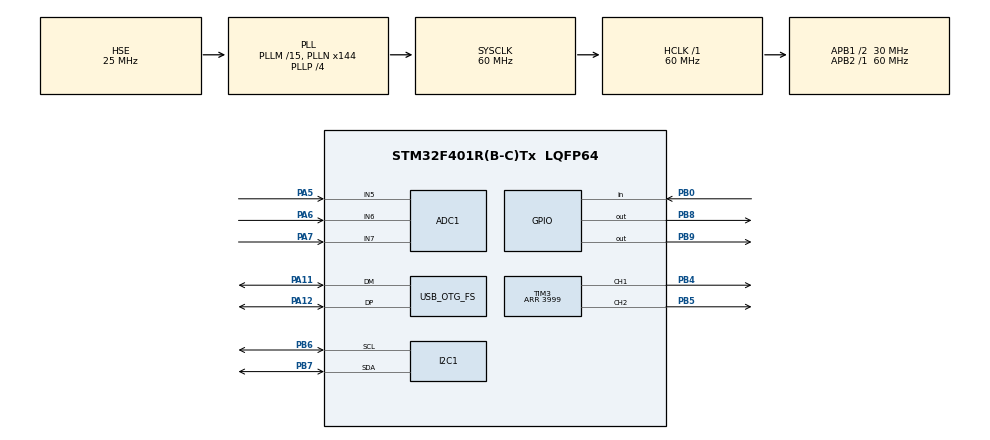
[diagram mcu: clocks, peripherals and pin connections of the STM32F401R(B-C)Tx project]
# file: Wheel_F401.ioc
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ADC1.Channel-0\#ChannelRegularConversion=ADC_CHANNEL_5
ADC1.Channel-1\#ChannelRegularConversion=ADC_CHANNEL_6
ADC1.Channel-2\#ChannelRegularConversion=ADC_CHANNEL_7
ADC1.DMAContinuousRequests=DISABLE
ADC1.NbrOfConversion=3
ADC1.NbrOfConversionFlag=1
ADC1.Rank-0\#ChannelRegularConversion=1
ADC1.Rank-1\#ChannelRegularConversion=2
ADC1.Rank-2\#ChannelRegularConversion=3
ADC1.SamplingTime-0\#ChannelRegularConversion=ADC_SAMPLETIME_56CYCLES
ADC1.SamplingTime-1\#ChannelRegularConversion=ADC_SAMPLETIME_56CYCLES
ADC1.SamplingTime-2\#ChannelRegularConversion=ADC_SAMPLETIME_56CYCLES
ADC1.ScanConvMode=ENABLE
ADC1.master=1
Dma.ADC1.0.Direction=DMA_PERIPH_TO_MEMORY
Dma.ADC1.0.FIFOMode=DMA_FIFOMODE_DISABLE
Dma.ADC1.0.Instance=DMA2_Stream0
Dma.ADC1.0.MemDataAlignment=DMA_MDATAALIGN_HALFWORD
Dma.ADC1.0.MemInc=DMA_MINC_ENABLE
Dma.ADC1.0.Mode=DMA_NORMAL
Dma.ADC1.0.PeriphDataAlignment=DMA_PDATAALIGN_HALFWORD
Dma.ADC1.0.PeriphInc=DMA_PINC_DISABLE
Dma.ADC1.0.Priority=DMA_PRIORITY_LOW
Dma.Request0=ADC1
FREERTOS.Tasks01=mainTask,24,128,StartDefaultTask,Default,NULL,Dynamic,NULL,NULL;task02,24,128,StartTask02,Default,NULL,Dynamic,NULL,NULL;task03,24,128,StartTask03,Default,NULL,Dynamic,NULL,NULL;task04,24,128,StartTask04,Default,NULL,Dynamic,NULL,NULL;task05,24,128,StartTask05,Default,NULL,Dynamic,NULL,NULL
Mcu.Family=STM32F4
Mcu.Name=STM32F401R(B-C)Tx
Mcu.Package=LQFP64
NVIC.DMA2_Stream0_IRQn=true\:5\:0\:false\:false\:true\:true\:false\:true\:true
NVIC.OTG_FS_IRQn=true\:5\:0\:false\:false\:true\:true\:false\:true\:true
NVIC.PriorityGroup=NVIC_PRIORITYGROUP_4
PA11.Mode=Device_Only
PA11.Signal=USB_OTG_FS_DM
PA12.Mode=Device_Only
PA12.Signal=USB_OTG_FS_DP
PA13.Mode=Trace_Asynchronous_SW
PA13.Signal=SYS_JTMS-SWDIO
PA14.Mode=Trace_Asynchronous_SW
PA14.Signal=SYS_JTCK-SWCLK
PA5.Signal=ADCx_IN5
PA6.Signal=ADCx_IN6
PA7.Signal=ADCx_IN7
PB0.GPIO_PuPd=GPIO_PULLDOWN
PB0.Signal=GPIO_Input
PB3.Mode=Trace_Asynchronous_SW
PB3.Signal=SYS_JTDO-SWO
PB4.GPIO_Speed=GPIO_SPEED_FREQ_VERY_HIGH
PB4.Signal=S_TIM3_CH1
PB5.Signal=S_TIM3_CH2
PB6.GPIO_Pu=GPIO_PULLUP
PB6.Mode=I2C
PB6.Signal=I2C1_SCL
PB7.GPIO_Pu=GPIO_PULLUP
PB7.Mode=I2C
PB7.Signal=I2C1_SDA
PB8.Signal=GPIO_Output
PB9.Signal=GPIO_Output
PH0\ -\ OSC_IN.Mode=HSE-External-Oscillator
PH0\ -\ OSC_IN.Signal=RCC_OSC_IN
PH1\ -\ OSC_OUT.Mode=HSE-External-Oscillator
PH1\ -\ OSC_OUT.Signal=RCC_OSC_OUT
ProjectManager.HeapSize=0x200
ProjectManager.StackSize=0x400
ProjectManager.TargetToolchain=STM32CubeIDE
RCC.48MHZClocksFreq_Value=48000000
RCC.AHBFreq_Value=60000000
RCC.APB1CLKDivider=RCC_HCLK_DIV2
RCC.APB1Freq_Value=30000000
RCC.APB1TimCLKDivider=2
RCC.APB1TimFreq_Value=60000000
RCC.APB2Freq_Value=60000000
RCC.APB2TimFreq_Value=60000000
RCC.CortexFreq_Value=60000000
RCC.HCLKFreq_Value=60000000
RCC.HSE_VALUE=25000000
RCC.HSI_VALUE=16000000
RCC.LSE_VALUE=32768
RCC.PLLM=15
RCC.PLLN=144
RCC.PLLP=RCC_PLLP_DIV4
RCC.PLLQ=5
RCC.SYSCLKFreq_VALUE=60000000
RCC.SYSCLKSource=RCC_SYSCLKSOURCE_PLLCLK
RCC.VCOOutputFreq_Value=240000000
SH.ADCx_IN5.0=ADC1_IN5,IN5
SH.ADCx_IN6.0=ADC1_IN6,IN6
SH.ADCx_IN7.0=ADC1_IN7,IN7
SH.S_TIM3_CH1.0=TIM3_CH1,PWM Generation1 CH1
SH.S_TIM3_CH2.0=TIM3_CH2,PWM Generation2 CH2
TIM3.Channel-PWM\ Generation1\ CH1=TIM_CHANNEL_1
TIM3.Channel-PWM\ Generation2\ CH2=TIM_CHANNEL_2
TIM3.CounterMode=TIM_COUNTERMODE_UP
TIM3.Period=3999
USB_DEVICE.CLASS_NAME_FS=CUSTOM_HID
USB_DEVICE.CUSTOM_HID_FS_BINTERVAL=0x1
USB_DEVICE.PRODUCT_STRING_CUSTOMHID_FS=FFB Steering Wheel
USB_DEVICE.USBD_CUSTOMHID_OUTREPORT_BUF_SIZE=64
USB_DEVICE.USBD_CUSTOM_HID_REPORT_DESC_SIZE=255
USB_DEVICE.VirtualMode=CustomHid
USB_DEVICE.VirtualModeFS=Custom_Hid_FS
USB_OTG_FS.VirtualMode=Device_Only
VP_FREERTOS_VS_CMSIS_V2.Mode=CMSIS_V2
VP_TIM3_VS_ClockSourceINT.Mode=Internal
VP_USB_DEVICE_VS_USB_DEVICE_CUSTOM_HID_FS.Mode=CUSTOM_HID_FS
board=custom

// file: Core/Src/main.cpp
/* USER CODE BEGIN Header */
/**
 ******************************************************************************
 * @file           : main.c
 * @brief          : Main program body
 ******************************************************************************
 * @attention
 *
 * Copyright (c) 2024 STMicroelectronics.
 * All rights reserved.
 *
 * This software is licensed under terms that can be found in the LICENSE file
 * in the root directory of this software component.
 * If no LICENSE file comes with this software, it is provided AS-IS.
 *
 ******************************************************************************
 */
/* USER CODE END Header */
#include "main.h"
#include "cmsis_os.h"
#include "usb_device.h"

/* USER CODE BEGIN Includes */
#include "FfbReportHandler.h"
#include "FfbWheel.h"
#include "HIDReportType.h"
#include <chrono>
#include "usbd_customhid.h"
#include "helpers.h"
#include "globals.h"
/* USER CODE END Includes */

ADC_HandleTypeDef hadc1;
DMA_HandleTypeDef hdma_adc1;

I2C_HandleTypeDef hi2c1;

TIM_HandleTypeDef htim3;

/* Definitions for mainTask */
osThreadId_t mainTaskHandle;
const osThreadAttr_t mainTask_attributes = {
  .name = "mainTask",
  .stack_size = 128 * 4,
  .priority = (osPriority_t) osPriorityNormal,
};
/* Definitions for task02 */
osThreadId_t task02Handle;
const osThreadAttr_t task02_attributes = {
  .name = "task02",
  .stack_size = 128 * 4,
  .priority = (osPriority_t) osPriorityNormal,
};
/* Definitions for task03 */
osThreadId_t task03Handle;
const osThreadAttr_t task03_attributes = {
  .name = "task03",
  .stack_size = 128 * 4,
  .priority = (osPriority_t) osPriorityNormal,
};
/* Definitions for task04 */
osThreadId_t task04Handle;
const osThreadAttr_t task04_attributes = {
  .name = "task04",
  .stack_size = 128 * 4,
  .priority = (osPriority_t) osPriorityNormal,
};
/* Definitions for task05 */
osThreadId_t task05Handle;
const osThreadAttr_t task05_attributes = {
  .name = "task05",
  .stack_size = 128 * 4,
  .priority = (osPriority_t) osPriorityNormal,
};
/* USER CODE BEGIN PV */

reportHID_t reportHID = { 1, 0, 0, 0, 0, 0, 0, 0};

volatile uint16_t adcResultsDMA[3];
const int adcChannelCount = sizeof(adcResultsDMA) / sizeof(adcResultsDMA[0]);
volatile int adcConversionComplete = 0; // set by callback

uint8_t fx_ratio_i = 30; // Reduce effects to a certain ratio of the total power to have a margin for the endstop
int32_t torque = 0; // last torque
int32_t effectTorque = 0; // last torque
int32_t lastEnc = 0;
uint8_t endstop_gain_i = 4; // Sets how much extra torque per count above endstop is added. High = stiff endstop. Low = softer

void *handler;

int16_t debug;
int32_t torqueTest;
int32_t addtorqueTest;
int32_t endstopTorqueTest;

int32_t adc[3];
int16_t offset = 0;
/* USER CODE END PV */

void SystemClock_Config(void);
static void MX_GPIO_Init(void);
static void MX_DMA_Init(void);
static void MX_ADC1_Init(void);
static void MX_TIM3_Init(void);
static void MX_I2C1_Init(void);
void StartDefaultTask(void *argument);
void StartTask02(void *argument);
void StartTask03(void *argument);
void StartTask04(void *argument);
void StartTask05(void *argument);

/* USER CODE BEGIN 0 */
int16_t updateEndstop() {
	int8_t clipdir = cliptest<int32_t, int32_t>(lastEnc, -6144, 6144);
	if (clipdir == 0) {
		return 0;
	}
	int32_t addtorque = 0;

	addtorque += clip<int32_t, int32_t>(abs(lastEnc) - 6144, -6144, 6144);
	addtorque *= (float) endstop_gain_i; // Apply endstop gain for stiffness
	addtorque *= -clipdir;
	addtorqueTest = addtorque;

	return clip<int32_t, int32_t>(addtorque, -MAX_TORQUE*1, MAX_TORQUE*1);
}

void printEffectState(TEffectState *state) {
	printf("state: %u\n", state->state);
	printf("effectType: %u\n", state->effectType);
	printf("offset: %d\n", state->offset);
	printf("gain: %u\n", state->gain);
	printf("attackLevel: %d, fadeLevel: %d\n", state->attackLevel, state->fadeLevel);
	printf("magnitude: %d\n", state->magnitude);
	printf("enableAxis: %#x\n", state->enableAxis);
	printf("directionX: %u, directionY: %u\n", state->directionX, state->directionY);
	printf("cpOffset: %d\n", state->cpOffset);
	printf("positiveCoefficient: %d\n", state->positiveCoefficient);
	printf("negativeCoefficient: %d\n", state->negativeCoefficient);
	printf("positiveSaturation: %u, negativeSaturation: %u\n", state->positiveSaturation, state->negativeSaturation);
	printf("deadBand: %u\n", state->deadBand);
	printf("last_value: %ld\n", state->last_value);
	printf("phase: %u\n", state->phase);
	printf("startMagnitude: %d, endMagnitude: %d\n", state->startMagnitude, state->endMagnitude);
	printf("axis: %u\n", state->axis);
	printf("period: %u\n", state->period);
	printf("duration: %u, fadeTime: %u, attackTime: %u, counter: %u\n", state->duration, state->fadeTime, state->attackTime, state->counter);
	printf("startTime: %llu\n", state->startTime);
	printf("--------------------------------\n");
}

/* USER CODE END 0 */

int main(void)
{

  /* MCU Configuration--------------------------------------------------------*/

  /* Reset of all peripherals, Initializes the Flash interface and the Systick. */
  HAL_Init();

  /* Configure the system clock */
  SystemClock_Config();

  /* Initialize all configured peripherals */
  MX_GPIO_Init();
  MX_DMA_Init();
  MX_ADC1_Init();
  MX_TIM3_Init();
  MX_I2C1_Init();
  /* USER CODE BEGIN 2 */
	handler = createFfbReportHandler();
	HAL_TIM_PWM_Start(&htim3, L_PWM_CH);
	__HAL_TIM_SET_COMPARE(&htim3, L_PWM_CH, 0);
	HAL_TIM_PWM_Start(&htim3, R_PWM_CH);
	__HAL_TIM_SET_COMPARE(&htim3, R_PWM_CH, 0);
	printf("SWO conversation started!\n");

	HAL_GPIO_WritePin(R_EN_GPIO_Port, R_EN_Pin, GPIO_PIN_RESET); // Установка R_EN на низкий уровень
	HAL_GPIO_WritePin(L_EN_GPIO_Port, L_EN_Pin, GPIO_PIN_RESET); // Установка L_EN на высокий уровень
  /* USER CODE END 2 */

  /* Init scheduler */
  osKernelInitialize();

  /* Create the thread(s) */
  /* creation of mainTask */
  mainTaskHandle = osThreadNew(StartDefaultTask, NULL, &mainTask_attributes);

  /* creation of task02 */
  task02Handle = osThreadNew(StartTask02, NULL, &task02_attributes);

  /* creation of task03 */
  task03Handle = osThreadNew(StartTask03, NULL, &task03_attributes);

  /* creation of task04 */
  task04Handle = osThreadNew(StartTask04, NULL, &task04_attributes);

  /* creation of task05 */
  task05Handle = osThreadNew(StartTask05, NULL, &task05_attributes);

  /* Start scheduler */
  osKernelStart();

  /* We should never get here as control is now taken by the scheduler */

  /* Infinite loop */
	while (1) {

	}
}

void SystemClock_Config(void)
{
  RCC_OscInitTypeDef RCC_OscInitStruct = {0};
  RCC_ClkInitTypeDef RCC_ClkInitStruct = {0};

  /** Configure the main internal regulator output voltage
  */
  __HAL_RCC_PWR_CLK_ENABLE();
  __HAL_PWR_VOLTAGESCALING_CONFIG(PWR_REGULATOR_VOLTAGE_SCALE2);

  /** Initializes the RCC Oscillators according to the specified parameters
  * in the RCC_OscInitTypeDef structure.
  */
  RCC_OscInitStruct.OscillatorType = RCC_OSCILLATORTYPE_HSE;
  RCC_OscInitStruct.HSEState = RCC_HSE_ON;
  RCC_OscInitStruct.PLL.PLLState = RCC_PLL_ON;
  RCC_OscInitStruct.PLL.PLLSource = RCC_PLLSOURCE_HSE;
  RCC_OscInitStruct.PLL.PLLM = 15;
  RCC_OscInitStruct.PLL.PLLN = 144;
  RCC_OscInitStruct.PLL.PLLP = RCC_PLLP_DIV4;
  RCC_OscInitStruct.PLL.PLLQ = 5;
  if (HAL_RCC_OscConfig(&RCC_OscInitStruct) != HAL_OK)
  {
    Error_Handler();
  }

  /** Initializes the CPU, AHB and APB buses clocks
  */
  RCC_ClkInitStruct.ClockType = RCC_CLOCKTYPE_HCLK|RCC_CLOCKTYPE_SYSCLK
                              |RCC_CLOCKTYPE_PCLK1|RCC_CLOCKTYPE_PCLK2;
  RCC_ClkInitStruct.SYSCLKSource = RCC_SYSCLKSOURCE_PLLCLK;
  RCC_ClkInitStruct.AHBCLKDivider = RCC_SYSCLK_DIV1;
  RCC_ClkInitStruct.APB1CLKDivider = RCC_HCLK_DIV2;
  RCC_ClkInitStruct.APB2CLKDivider = RCC_HCLK_DIV1;

  if (HAL_RCC_ClockConfig(&RCC_ClkInitStruct, FLASH_LATENCY_1) != HAL_OK)
  {
    Error_Handler();
  }
}

static void MX_ADC1_Init(void)
{

  ADC_ChannelConfTypeDef sConfig = {0};

  /** Configure the global features of the ADC (Clock, Resolution, Data Alignment and number of conversion)
  */
  hadc1.Instance = ADC1;
  hadc1.Init.ClockPrescaler = ADC_CLOCK_SYNC_PCLK_DIV2;
  hadc1.Init.Resolution = ADC_RESOLUTION_12B;
  hadc1.Init.ScanConvMode = ENABLE;
  hadc1.Init.ContinuousConvMode = DISABLE;
  hadc1.Init.DiscontinuousConvMode = DISABLE;
  hadc1.Init.ExternalTrigConvEdge = ADC_EXTERNALTRIGCONVEDGE_NONE;
  hadc1.Init.ExternalTrigConv = ADC_SOFTWARE_START;
  hadc1.Init.DataAlign = ADC_DATAALIGN_RIGHT;
  hadc1.Init.NbrOfConversion = 3;
  hadc1.Init.DMAContinuousRequests = DISABLE;
  hadc1.Init.EOCSelection = ADC_EOC_SINGLE_CONV;
  if (HAL_ADC_Init(&hadc1) != HAL_OK)
  {
    Error_Handler();
  }

  /** Configure for the selected ADC regular channel its corresponding rank in the sequencer and its sample time.
  */
  sConfig.Channel = ADC_CHANNEL_5;
  sConfig.Rank = 1;
  sConfig.SamplingTime = ADC_SAMPLETIME_56CYCLES;
  if (HAL_ADC_ConfigChannel(&hadc1, &sConfig) != HAL_OK)
  {
    Error_Handler();
  }

  /** Configure for the selected ADC regular channel its corresponding rank in the sequencer and its sample time.
  */
  sConfig.Channel = ADC_CHANNEL_6;
  sConfig.Rank = 2;
  if (HAL_ADC_ConfigChannel(&hadc1, &sConfig) != HAL_OK)
  {
    Error_Handler();
  }

  /** Configure for the selected ADC regular channel its corresponding rank in the sequencer and its sample time.
  */
  sConfig.Channel = ADC_CHANNEL_7;
  sConfig.Rank = 3;
  if (HAL_ADC_ConfigChannel(&hadc1, &sConfig) != HAL_OK)
  {
    Error_Handler();
  }

}

static void MX_I2C1_Init(void)
{

  hi2c1.Instance = I2C1;
  hi2c1.Init.ClockSpeed = 100000;
  hi2c1.Init.DutyCycle = I2C_DUTYCYCLE_2;
  hi2c1.Init.OwnAddress1 = 0;
  hi2c1.Init.AddressingMode = I2C_ADDRESSINGMODE_7BIT;
  hi2c1.Init.DualAddressMode = I2C_DUALADDRESS_DISABLE;
  hi2c1.Init.OwnAddress2 = 0;
  hi2c1.Init.GeneralCallMode = I2C_GENERALCALL_DISABLE;
  hi2c1.Init.NoStretchMode = I2C_NOSTRETCH_DISABLE;
  if (HAL_I2C_Init(&hi2c1) != HAL_OK)
  {
    Error_Handler();
  }

}

static void MX_TIM3_Init(void)
{

  TIM_ClockConfigTypeDef sClockSourceConfig = {0};
  TIM_MasterConfigTypeDef sMasterConfig = {0};
  TIM_OC_InitTypeDef sConfigOC = {0};

  htim3.Instance = TIM3;
  htim3.Init.Prescaler = 0;
  htim3.Init.CounterMode = TIM_COUNTERMODE_UP;
  htim3.Init.Period = 8570;
  htim3.Init.ClockDivision = TIM_CLOCKDIVISION_DIV1;
  htim3.Init.AutoReloadPreload = TIM_AUTORELOAD_PRELOAD_DISABLE;
  if (HAL_TIM_Base_Init(&htim3) != HAL_OK)
  {
    Error_Handler();
  }
  sClockSourceConfig.ClockSource = TIM_CLOCKSOURCE_INTERNAL;
  if (HAL_TIM_ConfigClockSource(&htim3, &sClockSourceConfig) != HAL_OK)
  {
    Error_Handler();
  }
  if (HAL_TIM_PWM_Init(&htim3) != HAL_OK)
  {
    Error_Handler();
  }
  sMasterConfig.MasterOutputTrigger = TIM_TRGO_RESET;
  sMasterConfig.MasterSlaveMode = TIM_MASTERSLAVEMODE_DISABLE;
  if (HAL_TIMEx_MasterConfigSynchronization(&htim3, &sMasterConfig) != HAL_OK)
  {
    Error_Handler();
  }
  sConfigOC.OCMode = TIM_OCMODE_PWM1;
  sConfigOC.Pulse = 0;
  sConfigOC.OCPolarity = TIM_OCPOLARITY_HIGH;
  sConfigOC.OCFastMode = TIM_OCFAST_DISABLE;
  if (HAL_TIM_PWM_ConfigChannel(&htim3, &sConfigOC, TIM_CHANNEL_1) != HAL_OK)
  {
    Error_Handler();
  }
  if (HAL_TIM_PWM_ConfigChannel(&htim3, &sConfigOC, TIM_CHANNEL_2) != HAL_OK)
  {
    Error_Handler();
  }
  HAL_TIM_MspPostInit(&htim3);

}

static void MX_DMA_Init(void)
{

  /* DMA controller clock enable */
  __HAL_RCC_DMA2_CLK_ENABLE();

  /* DMA interrupt init */
  /* DMA2_Stream0_IRQn interrupt configuration */
  HAL_NVIC_SetPriority(DMA2_Stream0_IRQn, 5, 0);
  HAL_NVIC_EnableIRQ(DMA2_Stream0_IRQn);

}

static void MX_GPIO_Init(void)
{
  GPIO_InitTypeDef GPIO_InitStruct = {0};

  /* GPIO Ports Clock Enable */
  __HAL_RCC_GPIOH_CLK_ENABLE();
  __HAL_RCC_GPIOA_CLK_ENABLE();
  __HAL_RCC_GPIOB_CLK_ENABLE();

  /*Configure GPIO pin Output Level */
  HAL_GPIO_WritePin(GPIOB, GPIO_PIN_8|GPIO_PIN_9, GPIO_PIN_RESET);

  /*Configure GPIO pin : PB0 */
  GPIO_InitStruct.Pin = GPIO_PIN_0;
  GPIO_InitStruct.Mode = GPIO_MODE_INPUT;
  GPIO_InitStruct.Pull = GPIO_PULLDOWN;
  HAL_GPIO_Init(GPIOB, &GPIO_InitStruct);

  /*Configure GPIO pins : PB8 PB9 */
  GPIO_InitStruct.Pin = GPIO_PIN_8|GPIO_PIN_9;
  GPIO_InitStruct.Mode = GPIO_MODE_OUTPUT_PP;
  GPIO_InitStruct.Pull = GPIO_NOPULL;
  GPIO_InitStruct.Speed = GPIO_SPEED_FREQ_LOW;
  HAL_GPIO_Init(GPIOB, &GPIO_InitStruct);

}

/* USER CODE BEGIN 4 */
void HAL_ADC_ConvCpltCallback(ADC_HandleTypeDef *hadc) {
	adcConversionComplete = 1;
}
/* USER CODE END 4 */

void StartDefaultTask(void *argument)
{
  /* init code for USB_DEVICE */
  MX_USB_DEVICE_Init();
  /* USER CODE BEGIN 5 */
	int32_t lastTorque;

	/* Infinite loop */
	for (;;) {
		lastTorque = torque;
		torque = 0;
		lastEnc = reportHID.X;

		effectTorque = callCalculateEffects(handler, reportHID.X, 1);

		if (abs(effectTorque) >= MAX_TORQUE) {
			//clipped
		}
		// Scale for power and endstop margin
		float effect_margin_scaler = ((float) fx_ratio_i / 255.0);
		effectTorque *= effect_margin_scaler;

		// Always check if endstop reached
		int32_t endstopTorque = updateEndstop();
		endstopTorqueTest = endstopTorque;

		// Calculate total torque
		torque += effectTorque;
		torque += endstopTorque;
		torqueTest = torque;

		// Torque changed
		if (torque != lastTorque) {
			// Update torque and clip
			torque = clip<int32_t, int32_t>(torque, -MAX_TORQUE, MAX_TORQUE);
			if (abs(torque) == MAX_TORQUE) {
				//clipped
			}
			// Send to motor driver
			int32_t val = (uint32_t) abs(torque);
			if (torque < 0) {
				HAL_GPIO_WritePin(R_EN_GPIO_Port, R_EN_Pin, GPIO_PIN_SET);
				HAL_GPIO_WritePin(L_EN_GPIO_Port, L_EN_Pin, GPIO_PIN_SET);
				__HAL_TIM_SET_COMPARE(&htim3, L_PWM_CH, MAX_TORQUE - val);
				__HAL_TIM_SET_COMPARE(&htim3, R_PWM_CH, MAX_TORQUE);
			}
			else if (torque > 0) {
				HAL_GPIO_WritePin(R_EN_GPIO_Port, R_EN_Pin, GPIO_PIN_SET);
				HAL_GPIO_WritePin(L_EN_GPIO_Port, L_EN_Pin, GPIO_PIN_SET);
				__HAL_TIM_SET_COMPARE(&htim3, L_PWM_CH, MAX_TORQUE);
				__HAL_TIM_SET_COMPARE(&htim3, R_PWM_CH, MAX_TORQUE - val);
			}
			else {
				HAL_GPIO_WritePin(R_EN_GPIO_Port, R_EN_Pin, GPIO_PIN_RESET);
				HAL_GPIO_WritePin(L_EN_GPIO_Port, L_EN_Pin, GPIO_PIN_RESET);
				__HAL_TIM_SET_COMPARE(&htim3, L_PWM_CH, MAX_TORQUE);
				__HAL_TIM_SET_COMPARE(&htim3, R_PWM_CH, MAX_TORQUE);
			}

//			printf("\tTorque = %ld", torque);
		}

//		TEffectState* effect;
//		effect = (TEffectState*) callGetEffectData(handler, 0);
//		printEffectState(effect);

		osDelay(1);
	}
  /* USER CODE END 5 */
}

void StartTask02(void *argument)
{
  /* USER CODE BEGIN StartTask02 */
	HAL_StatusTypeDef ret;
	uint8_t raw[2] = { 0, 0 };
	int16_t prePreRelPos = 0;
	int16_t prevAbsPos = 0;
	int16_t temp;
	int rdCnt = 0;

	static const uint8_t H_ADDR = 0x36 << 1;
	static uint8_t H_DATA = 0x0C;

	ret = HAL_I2C_Master_Transmit(&hi2c1, H_ADDR, &H_DATA, 1, HAL_MAX_DELAY);
	if (ret != HAL_OK) {
	}
	ret = HAL_I2C_Master_Receive(&hi2c1, H_ADDR, raw, 2, HAL_MAX_DELAY);
	if (ret != HAL_OK) {
	}
	prevAbsPos = raw[1] | (raw[0] << 8);
	prePreRelPos = prevAbsPos;

	/* Infinite loop */
	for (;;) {
		ret = HAL_I2C_Master_Transmit(&hi2c1, H_ADDR, &H_DATA, 1, HAL_MAX_DELAY);
		if (ret != HAL_OK) {
			continue;
		}
		ret = HAL_I2C_Master_Receive(&hi2c1, H_ADDR, raw, 2, HAL_MAX_DELAY);
		if (ret != HAL_OK) {
			continue;
		}
		temp = raw[1] | (raw[0] << 8);

		if (prevAbsPos > 2596 && prevAbsPos <= 4096 && temp >= 0 && temp <= 1596) {
			rdCnt++;
		}
		else if (temp > 2596 && temp <= 4096 && prevAbsPos >= 0 && prevAbsPos <= 1596) {
			rdCnt--;
		}
		if (temp + 4096 * rdCnt < reportHID.X + 2 && temp + 4096 * rdCnt > reportHID.X - 3) {
			// Do nothing
		}
		else {
			reportHID.X = (-(temp + rdCnt * 4096));
			reportHID.X -= offset;
		}
		prevAbsPos = temp;
		debug = temp;

		HAL_GPIO_TogglePin(GPIOC, GPIO_PIN_13);
		USBD_CUSTOM_HID_SendReport(&hUsbDeviceFS, (uint8_t*) &reportHID, sizeof(reportHID_t));
		osDelay(1);
	}
  /* USER CODE END StartTask02 */
}

void StartTask03(void *argument)
{
	for (;;) {
		osDelay(1);
	}
}

void StartTask04(void *argument)
{
  /* USER CODE BEGIN StartTask04 */
	/* Infinite loop */
	for (;;) {

		HAL_ADC_Start_DMA(&hadc1, (uint32_t*) adcResultsDMA, adcChannelCount);
		while (adcConversionComplete == 0) {

		}
		adcConversionComplete = 0;

		if (adcResultsDMA[0] < reportHID.Z + 20
				&& adcResultsDMA[0] > reportHID.Z - 20) {
			// Do nothing
		} else {
			reportHID.Z = adcResultsDMA[0] - 1300;
		}
		if (adcResultsDMA[1] < reportHID.RX + 20
				&& adcResultsDMA[1] > reportHID.RX - 20) {
			// Do nothing
		} else {
			reportHID.RX = adcResultsDMA[1] -2600;
		}
		if (adcResultsDMA[2] < reportHID.RY + 20
				&& adcResultsDMA[2] > reportHID.RY - 20) {
			// Do nothing
		} else {
			reportHID.RY = adcResultsDMA[2] - 1300;
		}

		osDelay(1);
	}
  /* USER CODE END StartTask04 */
}

void StartTask05(void *argument)
{
  /* USER CODE BEGIN StartTask05 */
	/* Infinite loop */
	for (;;) {

		if(HAL_GPIO_ReadPin (GPIOB, GPIO_PIN_0)){
			offset += reportHID.X;
		}

		osDelay(1);
	}
  /* USER CODE END StartTask05 */
}

void Error_Handler(void)
{
	__disable_irq();
	while (1) {
	}
}
